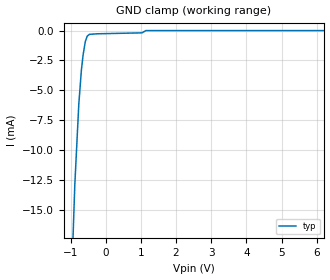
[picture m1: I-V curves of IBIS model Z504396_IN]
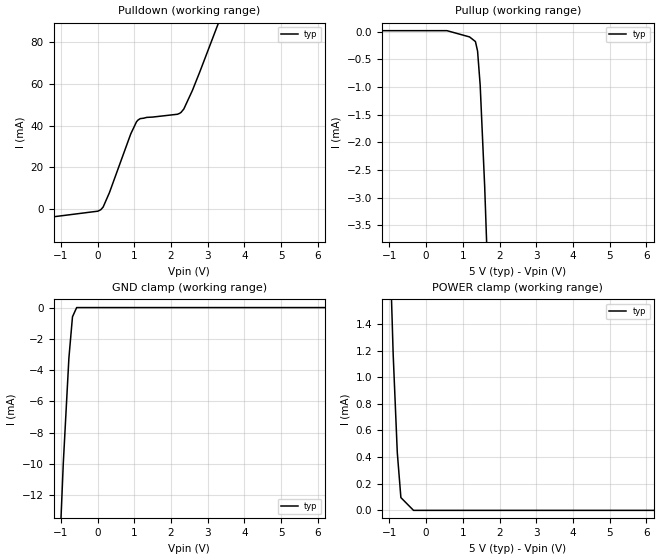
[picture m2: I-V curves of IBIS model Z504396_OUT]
| YOU ARE ONLY AUTHORIZED TO USE THIS SOFTWARE
| ACCORDING TO LICENSOR'S LICENSE RESTRICTIONS.
[IBIS Ver] 3.1
[File Name] sn54ls165j.ibs
[File Rev] 2.0
[Source] Measured and created by ICX Technology
[Date] Friday 7/14/00 9:08:13 AM
[Copyright]
| (C) COPYRIGHT 1993-2000
| MENTOR GRAPHICS CORPORATION
| ICX STANDARD LIBRARY, ICX PROJECT MODELING,
| ICX CUSTOM MODELING, ICX VENDOR MODEL
| ALL RIGHTS RESERVED.
| THE FOLLOWING ARE TRADEMARKS OR SERVICE MARKS OF
| MENTOR GRAPHICS CORPORATION:ICX (R), ICX STANDARD
| LIBRARY(R), ICX PROJECT MODELING(R), ICX CUSTOM
| MODELING(R), qualityIBIS(TM), MODELVIEWER(TM),
| AND MODELEDITOR(TM)
| ALL COPIES OF SOFTWARE, INCLUDING BUT NOT LIMITED TO
| ANY MODIFICATIONS, ENHANCEMENTS OR DERIVATIVE WORKS,
| MUST CONTAIN ALL MENTOR GRAPHICS CORPORATION'S
| NOTICES AND LEGENDS, INCLUDING THOSE EMBEDDED IN
| SOFTWARE AND THOSE AFFIXED TO SOFTWARE MEDIUM
| AND CONTAINER, AS RECEIVED FROM MENTOR GRAPHICS
| CORPORATION.
|  ZAP Model Builder 2.7
[Component] SN54LS165J
[Manufacturer] OnSemiconductor
[Package]
| variable   typ   min   max
R_pkg  .212ohms NA NA
L_pkg  4.758nH NA NA
C_pkg  1.944pF NA NA
[Pin] signal_name  model_name  R_pin  L_pin C_pin
1 SH_LD Z504396_IN .224 7.258n 2.683p
2 CLK Z504396_IN .216 5.258n 2.19p
3 E Z504396_IN .208 3.758n 1.697p
4 F Z504396_IN .2 2.758n 1.204p
5 G Z504396_IN .2 2.758n 1.204p
6 H Z504396_IN .208 3.758n 1.697p
7 _QH Z504396_OUT .216 5.258n 2.19p
8 GND GND .224 7.258n 2.683p
9 QH Z504396_OUT .224 7.258n 2.683p
10 SER Z504396_IN .216 5.258n 2.19p
11 A Z504396_IN .208 3.758n 1.697p
12 B Z504396_IN .2 2.758n 1.204p
13 C Z504396_IN .2 2.758n 1.204p
14 D Z504396_IN .208 3.758n 1.697p
15 CLK_INH Z504396_IN .216 5.258n 2.19p
16 VCC POWER .224 7.258n 2.683p
| Models and submodels in the file (2): Z504396_IN (Input), Z504396_OUT (Output)
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| (C) COPYRIGHT 1993-2000
| MENTOR GRAPHICS CORPORATION
| ICX STANDARD LIBRARY, ICX PROJECT MODELING,
| ICX CUSTOM MODELING, ICX VENDOR MODEL
| ALL RIGHTS RESERVED.
| THE FOLLOWING ARE TRADEMARKS OR SERVICE MARKS OF
| MENTOR GRAPHICS CORPORATION:ICX (R), ICX STANDARD
| LIBRARY(R), ICX PROJECT MODELING(R), ICX CUSTOM
| MODELING(R), qualityIBIS(TM), MODELVIEWER(TM),
| AND MODELEDITOR(TM)
| ALL COPIES OF SOFTWARE, INCLUDING BUT NOT LIMITED TO
| ANY MODIFICATIONS, ENHANCEMENTS OR DERIVATIVE WORKS,
| MUST CONTAIN ALL MENTOR GRAPHICS CORPORATION'S
| NOTICES AND LEGENDS, INCLUDING THOSE EMBEDDED IN
| SOFTWARE AND THOSE AFFIXED TO SOFTWARE MEDIUM
| AND CONTAINER, AS RECEIVED FROM MENTOR GRAPHICS
| CORPORATION.
| Model Application Version 1.89 2/18/99.
[Model] Z504396_IN
Model_type Input
Vinl = 800.0mV
Vinh = 2.000V
C_comp 4.000pF NA NA
| variable typ   min   max
[Voltage Range] 5.000V NA NA
[GND Clamp Reference] 0.000V NA NA
[POWER Clamp Reference] 5.000V NA NA
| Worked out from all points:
|   GND clamp passes 1 mA (typ) near -0.59 V on its own axis
[GND Clamp]
-5V       -371.2mA   NA         NA
-878.7mV  -12.88mA   NA         NA
-765.7mV  -6.176mA   NA         NA
-694.7mV  -3.397mA   NA         NA
-644.7mV  -2.066mA   NA         NA
-581mV    -926.3uA   NA         NA
-527.3mV  -466.3uA   NA         NA
-463.9mV  -314uA     NA         NA
-231.9mV  -268.6uA   NA         NA
1.028V    -190.9uA   NA         NA
1.143V    -126.2nA   NA         NA
10V       -126.2nA   NA         NA
[POWER Clamp]
-5V       0A         NA         NA
10V       0A         NA         NA
| (C) COPYRIGHT 1993-2000
| MENTOR GRAPHICS CORPORATION
| ICX STANDARD LIBRARY, ICX PROJECT MODELING,
| ICX CUSTOM MODELING, ICX VENDOR MODEL
| ALL RIGHTS RESERVED.
| THE FOLLOWING ARE TRADEMARKS OR SERVICE MARKS OF
| MENTOR GRAPHICS CORPORATION:ICX (R), ICX STANDARD
| LIBRARY(R), ICX PROJECT MODELING(R), ICX CUSTOM
| MODELING(R), qualityIBIS(TM), MODELVIEWER(TM),
| AND MODELEDITOR(TM)
| ALL COPIES OF SOFTWARE, INCLUDING BUT NOT LIMITED TO
| ANY MODIFICATIONS, ENHANCEMENTS OR DERIVATIVE WORKS,
| MUST CONTAIN ALL MENTOR GRAPHICS CORPORATION'S
| NOTICES AND LEGENDS, INCLUDING THOSE EMBEDDED IN
| SOFTWARE AND THOSE AFFIXED TO SOFTWARE MEDIUM
| AND CONTAINER, AS RECEIVED FROM MENTOR GRAPHICS
| CORPORATION.
| Model Application Version 1.89 2/18/99.
[Model] Z504396_OUT
Model_type Output
Vref=5.000V
Rref=2.000kohms
Cref=15.00pF
Vmeas=1.300V
C_comp 8.000pF NA NA
| variable typ   min   max
[Voltage Range] 5.000V NA NA
[POWER Clamp Reference] 5.000V NA NA
[Pullup Reference] 5.000V NA NA
[Pulldown Reference] 0.000V NA NA
[GND Clamp Reference] 0.000V NA NA
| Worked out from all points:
|   slope of the pulldown table from 0 to 0.75 V, typ, clamps not added: 25.3 ohm
|   slope of the pullup table from 0 to 0.75 V, typ, clamps not added: 22.2 kohm
|   GND clamp passes 1 mA (typ) near -0.70 V on its own axis
|   POWER clamp passes 1 mA (typ) near -0.87 V on its own axis
[GND Clamp]
-5V       -284.9mA   NA         NA
-1.064V   -17.28mA   NA         NA
-934.4mV  -9.969mA   NA         NA
-781.3mV  -3.225mA   NA         NA
-683.6mV  -587.9uA   NA         NA
-569.7mV  0A         NA         NA
10V       0A         NA         NA
[Pulldown]
-5V       -12.09mA   NA         NA
87.89mV   -248.2uA   NA         NA
151.3mV   1.016mA    NA         NA
322.3mV   7.905mA    NA         NA
903.7mV   36.06mA    NA         NA
1.06V     41.85mA    NA         NA
1.162V    43.38mA    NA         NA
2.271V    46.32mA    NA         NA
2.349V    47.98mA    NA         NA
2.583V    56.88mA    NA         NA
2.792V    66.11mA    NA         NA
10V       398.2mA    NA         NA
[Pullup]
-5V       15.43uA    NA         NA
566mV     15.43uA    NA         NA
1.182V    -97.66uA   NA         NA
1.343V    -181.5uA   NA         NA
1.401V    -354.3uA   NA         NA
1.472V    -970.1uA   NA         NA
1.595V    -2.807mA   NA         NA
10V       -162.5mA   NA         NA
[POWER Clamp]
-5V       43.45mA    NA         NA
-1.045V   2.512mA    NA         NA
-898mV    1.171mA    NA         NA
-786mV    433.9uA    NA         NA
-688mV    95.77uA    NA         NA
-344mV    0A         NA         NA
10V       0A         NA         NA
[Ramp]
| variable typ min max
dV/dt_r 1.874/11.38n NA NA
dV/dt_f 1.874/3.882n NA NA
R_load = 500.0Ohms
